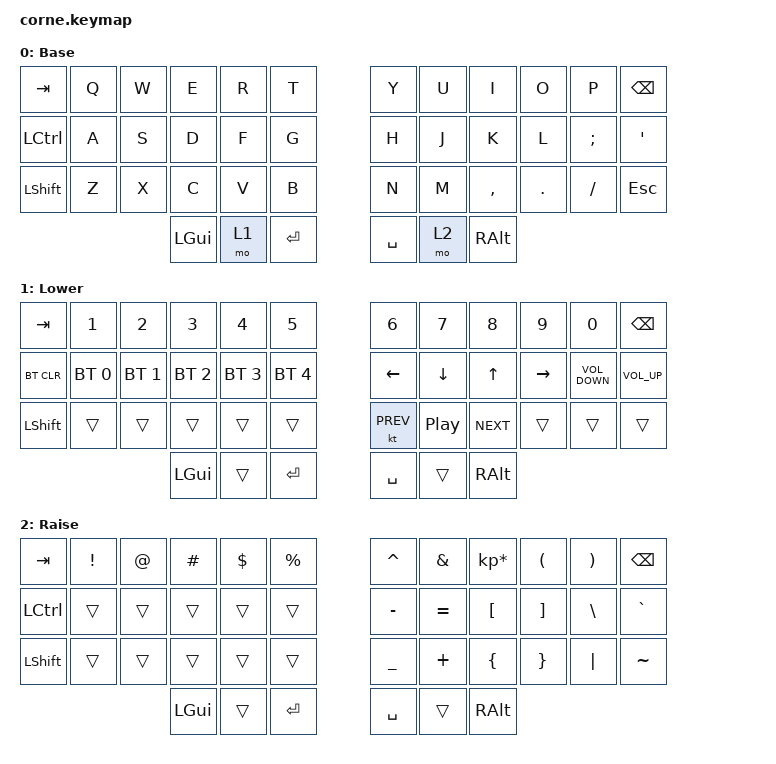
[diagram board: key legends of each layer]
/*
 * Copyright (c) 2020 The ZMK Contributors
 *
 * SPDX-License-Identifier: MIT
 */

#include <behaviors.dtsi>
#include <dt-bindings/zmk/bt.h>
#include <dt-bindings/zmk/keys.h>
#include <dt-bindings/zmk/keys.h>

/ {
    combos {
        compatible = "zmk,combos";

        mac-screenshot {
            bindings = <&kp LG(LS(NUMBER_4))>;
            key-positions = <2 3>;
            layers = <0>;
        };

        mac-clip-screenshot {
            bindings = <&kp LG(LS(S))>;
            key-positions = <2 15>;
        };
    };

    keymap {
        compatible = "zmk,keymap";

        default_layer {
            // -----------------------------------------------------------------------------------------
            // |  TAB |  Q  |  W  |  E  |  R  |  T  |   |  Y  |  U   |  I  |  O  |  P  | BKSP |
            // | CTRL |  A  |  S  |  D  |  F  |  G  |   |  H  |  J   |  K  |  L  |  ;  |  '   |
            // | SHFT |  Z  |  X  |  C  |  V  |  B  |   |  N  |  M   |  ,  |  .  |  /  | ESC  |
            //                    | GUI | LWR | SPC |   | ENT | RSE  | ALT |

            display-name = "Base";
            bindings = <
&kp TAB    &kp Q  &kp W  &kp E     &kp R  &kp T        &kp Y      &kp U  &kp I      &kp O    &kp P     &kp BSPC
&kp LCTRL  &kp A  &kp S  &kp D     &kp F  &kp G        &kp H      &kp J  &kp K      &kp L    &kp SEMI  &kp SQT
&kp LSHFT  &kp Z  &kp X  &kp C     &kp V  &kp B        &kp N      &kp M  &kp COMMA  &kp DOT  &kp FSLH  &kp ESC
                         &kp LGUI  &mo 1  &kp ENTER    &kp SPACE  &mo 2  &kp RALT
            >;
        };

        lower_layer {
            // -----------------------------------------------------------------------------------------
            // |  TAB |  1  |  2  |  3  |  4  |  5  |   |  6  |  7  |  8  |  9  |  0  | BKSP |
            // | BTCLR| BT1 | BT2 | BT3 | BT4 | BT5 |   | LFT | DWN |  UP | RGT |     |      |
            // | SHFT |     |     |     |     |     |   |     |     |     |     |     |      |
            //                    | GUI |     | SPC |   | ENT |     | ALT |

            display-name = "Lower";
            bindings = <
&kp TAB     &kp N1        &kp N2        &kp N3        &kp N4        &kp N5          &kp N6      &kp N7            &kp N8      &kp N9     &kp N0             &kp BSPC
&bt BT_CLR  &bt BT_SEL 0  &bt BT_SEL 1  &bt BT_SEL 2  &bt BT_SEL 3  &bt BT_SEL 4    &kp LEFT    &kp DOWN          &kp UP      &kp RIGHT  &kp C_VOLUME_DOWN  &kp C_VOLUME_UP
&kp LSHFT   &trans        &trans        &trans        &trans        &trans          &kt C_PREV  &kp C_PLAY_PAUSE  &kp C_NEXT  &trans     &trans             &trans
                                        &kp LGUI      &trans        &kp ENTER       &kp SPACE   &trans            &kp RALT
            >;
        };

        raise_layer {
            // -----------------------------------------------------------------------------------------
            // |  TAB |  !  |  @  |  #  |  $  |  %  |   |  ^  |  &  |  *  |  (  |  )  | BKSP |
            // | CTRL |     |     |     |     |     |   |  -  |  =  |  [  |  ]  |  \  |  `   |
            // | SHFT |     |     |     |     |     |   |  _  |  +  |  {  |  }  | "|" |  ~   |
            //                    | GUI |     | SPC |   | ENT |     | ALT |

            display-name = "Raise";
            bindings = <
&kp TAB    &kp EXCL  &kp AT  &kp HASH  &kp DLLR  &kp PRCNT    &kp CARET  &kp AMPS   &kp KP_MULTIPLY  &kp LPAR  &kp RPAR  &kp BSPC
&kp LCTRL  &trans    &trans  &trans    &trans    &trans       &kp MINUS  &kp EQUAL  &kp LBKT         &kp RBKT  &kp BSLH  &kp GRAVE
&kp LSHFT  &trans    &trans  &trans    &trans    &trans       &kp UNDER  &kp PLUS   &kp LBRC         &kp RBRC  &kp PIPE  &kp TILDE
                             &kp LGUI  &trans    &kp ENTER    &kp SPACE  &trans     &kp RALT
            >;
        };
    };
};
